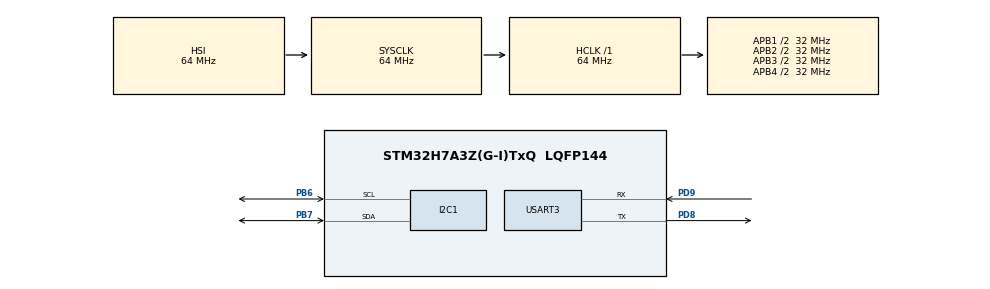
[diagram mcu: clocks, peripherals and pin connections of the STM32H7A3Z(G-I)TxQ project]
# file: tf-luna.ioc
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I2C1.Timing=0x00707CBB
Mcu.Family=STM32H7
Mcu.Name=STM32H7A3Z(G-I)TxQ
Mcu.Package=LQFP144
NVIC.PriorityGroup=NVIC_PRIORITYGROUP_4
PB6.Mode=I2C
PB6.Signal=I2C1_SCL
PB7.Mode=I2C
PB7.Signal=I2C1_SDA
PD8.Mode=Asynchronous
PD8.Signal=USART3_TX
PD9.Mode=Asynchronous
PD9.Signal=USART3_RX
PH0-OSC_IN.Mode=HSE-External-Oscillator
PH0-OSC_IN.Signal=RCC_OSC_IN
PH1-OSC_OUT.Mode=HSE-External-Oscillator
PH1-OSC_OUT.Signal=RCC_OSC_OUT
ProjectManager.HeapSize=0x200
ProjectManager.StackSize=0x400
ProjectManager.TargetToolchain=STM32CubeIDE
RCC.ADCFreq_Value=129000000
RCC.APB1Freq_Value=32000000
RCC.APB2Freq_Value=32000000
RCC.APB3Freq_Value=32000000
RCC.APB4Freq_Value=32000000
RCC.CDPPRE=RCC_APB3_DIV2
RCC.CDPPRE1=RCC_APB1_DIV2
RCC.CDPPRE2=RCC_APB2_DIV2
RCC.CortexFreq_Value=64000000
RCC.HCLKFreq_Value=64000000
RCC.SRDPPRE=RCC_APB4_DIV2
RCC.SYSCLKFreq_VALUE=64000000
RCC.USBFreq_Value=129000000
USART3.VirtualMode-Asynchronous=VM_ASYNC
board=custom

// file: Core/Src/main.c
/* USER CODE BEGIN Header */
/**
  ******************************************************************************
  * @file           : main.c
  * @brief          : Main program body
  ******************************************************************************
  * @attention
  *
  * Copyright (c) 2023 STMicroelectronics.
  * All rights reserved.
  *
  * This software is licensed under terms that can be found in the LICENSE file
  * in the root directory of this software component.
  * If no LICENSE file comes with this software, it is provided AS-IS.
  *
  ******************************************************************************
  */
/* USER CODE END Header */
#include "main.h"
#include "i2c.h"
#include "usart.h"
#include "gpio.h"

/* USER CODE BEGIN Includes */
#include "tfluna_i2c.h"
#include "stdio.h"
#include <stdbool.h>
/* USER CODE END Includes */

/* USER CODE BEGIN PM */
#ifdef __GNUC__
#define PUTCHAR_PROTOTYPE int __io_putchar(int ch)
#else
#define PUTCHAR_PROTOTYPE int fputc(int ch, FILE *f)
#endif

PUTCHAR_PROTOTYPE{
   HAL_UART_Transmit(&huart3, (uint8_t*)&ch, 1, 0xFFFF);
   return ch;
}
/* USER CODE END PM */

void SystemClock_Config(void);

/* USER CODE BEGIN 0 */

//int _write(int file, char *ptr, int len)
//{
//  /* Implement your write code here, this is used by puts and printf for example */
//  int i=0;
//  for(i=0 ; i<len ; i++)
//    ITM_SendChar((*ptr++));
//  return len;
//}

int _write(int file, unsigned char * p, int len){
	HAL_UART_Transmit(&huart3, p, len, 10);
	return len;
}

TF_Luna_Lidar TF_Luna_1;

int16_t  tfAddr = TFL_DEF_ADR;    // default I2C address
uint16_t tfFrame = TFL_DEF_FPS;   // default frame rate
int16_t  tfDist = 0 ;   // distance in centimeters

/* multi devices example:
 * Maybe 5 devices
 * int16_t tfDist[5]=0;
 *
 *
 *You should define other variables this way as well.
 *Example : tfFlux[5]=0;
 */

int16_t  tfFlux = 0 ;   // signal quality in arbitrary units
int16_t  tfTemp = 0 ;   // temperature in 0.01 degree Celsius

// other device variables
uint16_t tfTime = 0;    // devie clock in milliseconds

uint8_t  tfVer[3];      // device version number
/*multi devices example:
 * uint8_t  tfVer1[3];
 * uint8_t  tfVer2[3];
 * uint8_t  tfVer3[3];
 * uint8_t  tfVer4[3];
 */

uint8_t  tfCode[14];    // device serial number

// sub-loop counter for Time display
uint8_t tfCount = 0;

/* USER CODE END 0 */

int main(void)
{

  /* MCU Configuration--------------------------------------------------------*/

  /* Reset of all peripherals, Initializes the Flash interface and the Systick. */
  HAL_Init();

  /* USER CODE BEGIN Init */
  TF_Luna_init(&TF_Luna_1, &hi2c1, 0x10);
  /* USER CODE END Init */

  /* Configure the system clock */
  SystemClock_Config();

  /* Initialize all configured peripherals */
  MX_GPIO_Init();
  MX_I2C1_Init();
  MX_USART3_UART_Init();
  /* USER CODE BEGIN 2 */

    /* multi devices example:
     *   If you want to connect more than one device,
     *   you must first connect them one by one and change their slave addresses.
     *   Each device must have a different address.
     *
     *   TF_Luna_init(&TF_Luna_2, &hi2c1, 0x11); // random address.
     *   TF_Luna_init(&TF_Luna_3, &hi2c1, 0x12);
     *   TF_Luna_init(&TF_Luna_4, &hi2c1, 0x13);
     *   TF_Luna_init(&TF_Luna_5, &hi2c1, 0x14);
     */

    Get_Frame_Rate( &TF_Luna_1,&tfFrame);
    Get_Firmware_Version(&TF_Luna_1, tfVer);
    Get_Prod_Code(&TF_Luna_1, tfCode);
    Get_Time(&TF_Luna_1, &tfTime);
  /* USER CODE END 2 */

  /* Infinite loop */
  /* USER CODE BEGIN WHILE */
  while (1)
  {
	  getData(&TF_Luna_1, &tfDist, &tfFlux, &tfTemp);

	  printDataArray();
//	  printf("%d",tfDist); // Open your SVW ITM Data Console
	  printf("hello");
	  	  HAL_Delay(4); // 250Hz
    /* USER CODE END WHILE */

  }
}

void SystemClock_Config(void)
{
  RCC_OscInitTypeDef RCC_OscInitStruct = {0};
  RCC_ClkInitTypeDef RCC_ClkInitStruct = {0};

  /** Supply configuration update enable
  */
  HAL_PWREx_ConfigSupply(PWR_DIRECT_SMPS_SUPPLY);
  /** Configure the main internal regulator output voltage
  */
  __HAL_PWR_VOLTAGESCALING_CONFIG(PWR_REGULATOR_VOLTAGE_SCALE3);

  while(!__HAL_PWR_GET_FLAG(PWR_FLAG_VOSRDY)) {}
  /** Initializes the RCC Oscillators according to the specified parameters
  * in the RCC_OscInitTypeDef structure.
  */
  RCC_OscInitStruct.OscillatorType = RCC_OSCILLATORTYPE_HSI;
  RCC_OscInitStruct.HSIState = RCC_HSI_DIV1;
  RCC_OscInitStruct.HSICalibrationValue = RCC_HSICALIBRATION_DEFAULT;
  RCC_OscInitStruct.PLL.PLLState = RCC_PLL_NONE;
  if (HAL_RCC_OscConfig(&RCC_OscInitStruct) != HAL_OK)
  {
    Error_Handler();
  }
  /** Initializes the CPU, AHB and APB buses clocks
  */
  RCC_ClkInitStruct.ClockType = RCC_CLOCKTYPE_HCLK|RCC_CLOCKTYPE_SYSCLK
                              |RCC_CLOCKTYPE_PCLK1|RCC_CLOCKTYPE_PCLK2
                              |RCC_CLOCKTYPE_D3PCLK1|RCC_CLOCKTYPE_D1PCLK1;
  RCC_ClkInitStruct.SYSCLKSource = RCC_SYSCLKSOURCE_HSI;
  RCC_ClkInitStruct.SYSCLKDivider = RCC_SYSCLK_DIV1;
  RCC_ClkInitStruct.AHBCLKDivider = RCC_HCLK_DIV1;
  RCC_ClkInitStruct.APB3CLKDivider = RCC_APB3_DIV2;
  RCC_ClkInitStruct.APB1CLKDivider = RCC_APB1_DIV2;
  RCC_ClkInitStruct.APB2CLKDivider = RCC_APB2_DIV2;
  RCC_ClkInitStruct.APB4CLKDivider = RCC_APB4_DIV2;

  if (HAL_RCC_ClockConfig(&RCC_ClkInitStruct, FLASH_LATENCY_2) != HAL_OK)
  {
    Error_Handler();
  }
}

void Error_Handler(void)
{
  __disable_irq();
  while (1)
  {
  }
}
